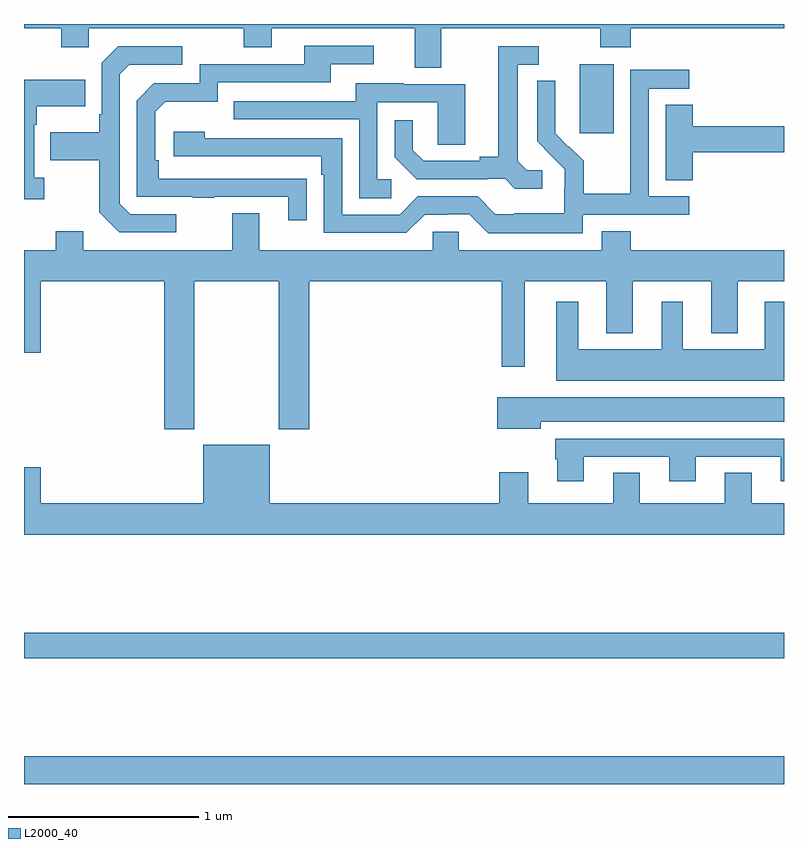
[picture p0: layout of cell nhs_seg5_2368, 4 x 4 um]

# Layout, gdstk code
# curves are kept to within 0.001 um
import gdstk
lib = gdstk.Library(unit=1e-6, precision=1e-09)
def R(c, l, rs):  # rectangles x0, y0, x1, y1
    for r in rs: c.add(gdstk.rectangle(r[:2], r[2:], *l))
def P(c, l, *ps):  # polygons
    for p in ps: c.add(gdstk.Polygon(p, *l))
L2000_40 = (2000, 40)

nhs_seg5_2368 = lib.new_cell('nhs_seg5_2368')
R(nhs_seg5_2368, L2000_40, [(249,836.799,253,836.944), (249,837.46,253,837.596), (251.924,840.225,252.103,840.586)])
P(nhs_seg5_2368, L2000_40, [(251.197,840.776),(252.034,840.776),(252.034,840.677),(252.194,840.677),(252.194,840.776),(253,840.776),(253,840.799),(249,840.799),(249,840.776),(249.196,840.776),(249.196,840.677),(249.342,840.677),(249.342,840.776),(250.156,840.776),(250.156,840.677),(250.303,840.677),(250.303,840.776),(251.057,840.776),(251.057,840.568),(251.197,840.568)],
  [(250.487,839.984),(249.71,839.985),(249.71,840.082),(249.69,840.082),(249.69,840.336),(249.743,840.389),(250.02,840.389),(250.02,840.492),(250.615,840.492),(250.615,840.588),(250.84,840.588),(250.84,840.684),(250.475,840.684),(250.475,840.588),(249.924,840.588),(249.924,840.486),(249.684,840.486),(249.594,840.396),(249.594,839.889),(249.889,839.889),(249.889,839.884),(250.001,839.884),(250.001,839.889),(250.391,839.889),(250.391,839.766),(250.487,839.766)],
  [(249.802,839.799),(249.558,839.799),(249.504,839.853),(249.504,840.534),(249.555,840.585),(249.832,840.585),(249.832,840.681),(249.495,840.681),(249.408,840.594),(249.408,840.325),(249.396,840.325),(249.396,840.229),(249.139,840.229),(249.139,840.082),(249.396,840.082),(249.396,839.809),(249.501,839.703),(249.802,839.703)],
  [(251.728,840.03),(251.646,840.03),(251.599,840.077),(251.599,840.585),(251.71,840.585),(251.71,840.681),(251.495,840.681),(251.495,840.101),(251.399,840.101),(251.399,840.078),(251.104,840.078),(251.047,840.135),(251.047,840.292),(250.95,840.292),(250.95,840.098),(251.066,839.982),(251.438,839.982),(251.438,839.985),(251.532,839.985),(251.584,839.933),(251.728,839.933)],
  [(251.94,839.796),(252.502,839.796),(252.502,839.892),(252.288,839.892),(252.288,840.459),(252.502,840.459),(252.502,840.558),(252.192,840.558),(252.192,840.128),(252.19,840.128),(252.19,839.905),(251.945,839.905),(251.945,840.079),(251.868,840.156),(251.865,840.153),(251.795,840.224),(251.796,840.5),(251.7,840.5),(251.7,840.182),(251.846,840.034),(251.846,839.937),(251.844,839.937),(251.844,839.803),(251.581,839.803),(251.581,839.799),(251.481,839.799),(251.388,839.892),(251.073,839.892),(250.977,839.796),(250.674,839.796),(250.674,840.198),(249.95,840.198),(249.95,840.232),(249.789,840.232),(249.789,840.102),(250.565,840.102),(250.565,840.005),(250.578,840.005),(250.578,839.7),(251.013,839.7),(251.109,839.796),(251.228,839.796),(251.228,839.799),(251.343,839.799),(251.443,839.699),(251.94,839.699)],
  [(249.106,839.99),(249.054,839.99),(249.054,840.269),(249.067,840.269),(249.067,840.365),(249.323,840.365),(249.323,840.505),(249,840.505),(249,839.877),(249.106,839.877)],
  [(250.933,839.982),(250.86,839.982),(250.86,840.387),(251.178,840.387),(251.178,840.163),(251.323,840.163),(251.323,840.483),(250.999,840.483),(250.999,840.487),(250.745,840.487),(250.745,840.393),(250.105,840.393),(250.105,840.297),(250.764,840.297),(250.764,839.881),(250.933,839.881)],
  [(252.521,840.124),(253,840.124),(253,840.26),(252.521,840.26),(252.521,840.374),(252.377,840.374),(252.377,839.977),(252.521,839.977)],
  [(249.897,839.444),(250.342,839.444),(250.342,838.665),(250.502,838.665),(250.502,839.444),(251.514,839.444),(251.514,838.995),(251.635,838.995),(251.635,839.444),(252.065,839.444),(252.065,839.171),(252.205,839.171),(252.205,839.444),(252.617,839.444),(252.617,839.171),(252.757,839.171),(252.757,839.444),(253,839.444),(253,839.608),(252.194,839.608),(252.194,839.707),(252.041,839.707),(252.041,839.608),(251.289,839.608),(251.289,839.706),(251.151,839.706),(251.151,839.608),(250.237,839.608),(250.237,839.803),(250.097,839.803),(250.097,839.608),(249.313,839.608),(249.313,839.707),(249.166,839.707),(249.166,839.608),(249,839.608),(249,839.07),(249.088,839.07),(249.088,839.444),(249.737,839.444),(249.737,838.665),(249.897,838.665)],
  [(253,839.338),(252.899,839.338),(252.899,839.086),(252.466,839.086),(252.466,839.338),(252.356,839.338),(252.356,839.086),(251.917,839.086),(251.917,839.338),(251.801,839.338),(251.801,838.922),(253,838.922)],
  [(251.719,838.706),(253,838.706),(253,838.834),(251.49,838.834),(251.49,838.67),(251.719,838.67)],
  [(251.947,838.521),(252.395,838.521),(252.395,838.392),(252.535,838.392),(252.535,838.521),(252.983,838.521),(252.983,838.392),(253,838.392),(253,838.617),(251.795,838.617),(251.795,838.509),(251.807,838.509),(251.807,838.392),(251.947,838.392)],
  [(253,838.276),(252.829,838.276),(252.829,838.436),(252.689,838.436),(252.689,838.276),(252.241,838.276),(252.241,838.436),(252.101,838.436),(252.101,838.276),(251.653,838.276),(251.653,838.441),(251.501,838.441),(251.501,838.276),(250.294,838.276),(250.294,838.585),(249.944,838.585),(249.944,838.276),(249.088,838.276),(249.088,838.465),(249,838.465),(249,838.112),(253,838.112)])

lib.write_gds('nhs_seg5_2368.gds')
